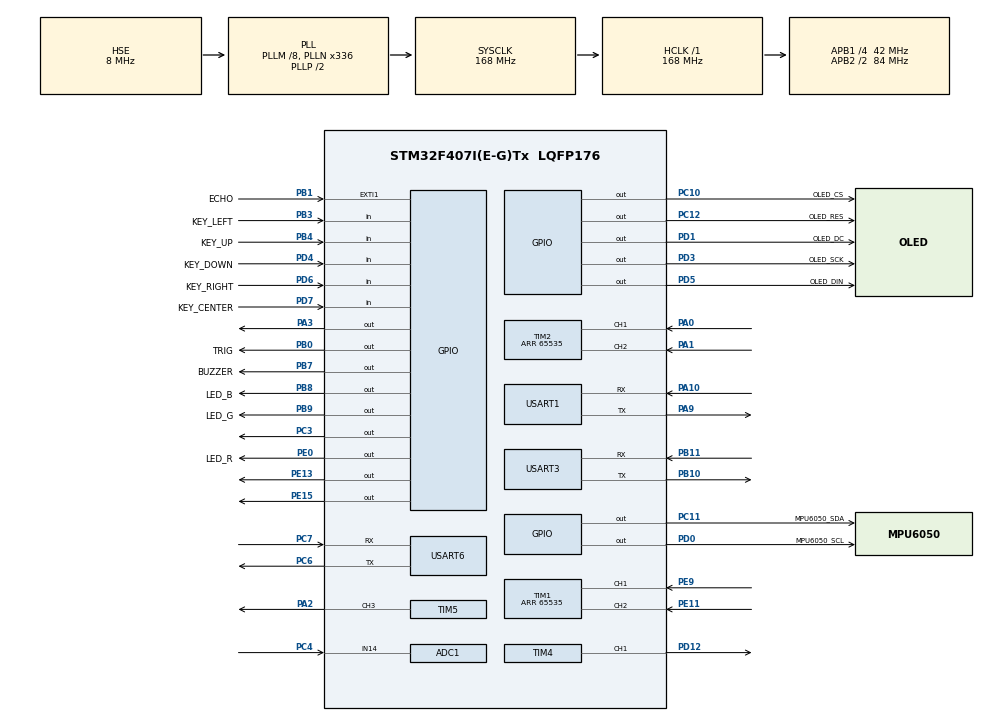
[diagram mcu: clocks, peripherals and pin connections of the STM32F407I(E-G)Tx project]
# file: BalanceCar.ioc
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ADC1.Channel-0\#ChannelRegularConversion=ADC_CHANNEL_14
ADC1.ClockPrescaler=ADC_CLOCK_SYNC_PCLK_DIV4
ADC1.ContinuousConvMode=DISABLE
ADC1.DMAContinuousRequests=DISABLE
ADC1.DataAlign=ADC_DATAALIGN_RIGHT
ADC1.DiscontinuousConvMode=DISABLE
ADC1.EOCSelection=ADC_EOC_SINGLE_CONV
ADC1.EnableAnalogWatchDog=false
ADC1.ExternalTrigConv=ADC_SOFTWARE_START
ADC1.ExternalTrigConvEdge=ADC_EXTERNALTRIGCONVEDGE_NONE
ADC1.InjNumberOfConversion=0
ADC1.NbrOfConversion=1
ADC1.NbrOfConversionFlag=1
ADC1.Rank-0\#ChannelRegularConversion=1
ADC1.Resolution=ADC_RESOLUTION_12B
ADC1.SamplingTime-0\#ChannelRegularConversion=ADC_SAMPLETIME_3CYCLES
ADC1.ScanConvMode=DISABLE
ADC1.master=1
Dma.Request0=USART3_RX
Dma.Request1=USART6_RX
Dma.USART3_RX.0.Direction=DMA_PERIPH_TO_MEMORY
Dma.USART3_RX.0.FIFOMode=DMA_FIFOMODE_DISABLE
Dma.USART3_RX.0.Instance=DMA1_Stream1
Dma.USART3_RX.0.MemDataAlignment=DMA_MDATAALIGN_BYTE
Dma.USART3_RX.0.MemInc=DMA_MINC_ENABLE
Dma.USART3_RX.0.Mode=DMA_NORMAL
Dma.USART3_RX.0.PeriphDataAlignment=DMA_PDATAALIGN_BYTE
Dma.USART3_RX.0.PeriphInc=DMA_PINC_DISABLE
Dma.USART3_RX.0.Priority=DMA_PRIORITY_LOW
Dma.USART6_RX.1.Direction=DMA_PERIPH_TO_MEMORY
Dma.USART6_RX.1.FIFOMode=DMA_FIFOMODE_DISABLE
Dma.USART6_RX.1.Instance=DMA2_Stream1
Dma.USART6_RX.1.MemDataAlignment=DMA_MDATAALIGN_BYTE
Dma.USART6_RX.1.MemInc=DMA_MINC_ENABLE
Dma.USART6_RX.1.Mode=DMA_NORMAL
Dma.USART6_RX.1.PeriphDataAlignment=DMA_PDATAALIGN_BYTE
Dma.USART6_RX.1.PeriphInc=DMA_PINC_DISABLE
Dma.USART6_RX.1.Priority=DMA_PRIORITY_LOW
FREERTOS.Tasks01=Task_200HZ,0,128,StartTask_200HZ,Default,NULL,Dynamic,NULL,NULL;Task_100HZ,-3,128,StartTask_100HZ,Default,NULL,Dynamic,NULL,NULL;Task_5HZ,-3,128,StartTask_5HZ,Default,NULL,Dynamic,NULL,NULL;Task_Interactio,-3,128,StartTask_Interaction,Default,NULL,Dynamic,NULL,NULL
Mcu.Family=STM32F4
Mcu.Name=STM32F407I(E-G)Tx
Mcu.Package=LQFP176
NVIC.DMA1_Stream1_IRQn=true\:5\:0\:false\:false\:true\:true\:false
NVIC.DMA2_Stream1_IRQn=true\:5\:0\:false\:false\:true\:true\:false
NVIC.EXTI1_IRQn=true\:5\:0\:false\:false\:true\:true\:true
NVIC.PriorityGroup=NVIC_PRIORITYGROUP_4
NVIC.TIM6_DAC_IRQn=true\:0\:0\:false\:false\:true\:false\:false
NVIC.TIM7_IRQn=true\:5\:0\:false\:false\:true\:true\:true
NVIC.TimeBase=TIM6_DAC_IRQn
NVIC.TimeBaseIP=TIM6
NVIC.USART3_IRQn=true\:5\:0\:false\:false\:true\:true\:true
NVIC.USART6_IRQn=true\:5\:0\:false\:false\:true\:true\:true
PA0-WKUP.Signal=S_TIM2_CH1_ETR
PA1.Signal=S_TIM2_CH2
PA10.Mode=Asynchronous
PA10.Signal=USART1_RX
PA2.Signal=S_TIM5_CH3
PA3.Signal=GPIO_Output
PA9.Mode=Asynchronous
PA9.Signal=USART1_TX
PB0.GPIO_Label=TRIG
PB0.Signal=GPIO_Output
PB1.GPIO_Label=ECHO
PB1.GPIO_ModeDefaultEXTI=GPIO_MODE_IT_RISING_FALLING
PB1.Signal=GPXTI1
PB10.Mode=Asynchronous
PB10.Signal=USART3_TX
PB11.Mode=Asynchronous
PB11.Signal=USART3_RX
PB3.GPIO_Label=KEY_LEFT
PB3.Signal=GPIO_Input
PB4.GPIO_Label=KEY_UP
PB4.Signal=GPIO_Input
PB7.GPIO_Label=BUZZER
PB7.Signal=GPIO_Output
PB8.GPIO_Label=LED_B
PB8.Signal=GPIO_Output
PB9.GPIO_Label=LED_G
PB9.Signal=GPIO_Output
PC10.GPIO_Label=OLED_CS
PC10.Signal=GPIO_Output
PC11.GPIO_Label=MPU6050_SDA
PC11.Signal=GPIO_Output
PC12.GPIO_Label=OLED_RES
PC12.Signal=GPIO_Output
PC3.Signal=GPIO_Output
PC4.Signal=ADCx_IN14
PC6.Mode=Asynchronous
PC6.Signal=USART6_TX
PC7.Mode=Asynchronous
PC7.Signal=USART6_RX
PD0.GPIO_Label=MPU6050_SCL
PD0.Signal=GPIO_Output
PD1.GPIO_Label=OLED_DC
PD1.Signal=GPIO_Output
PD12.Signal=S_TIM4_CH1
PD3.GPIO_Label=OLED_SCK
PD3.Signal=GPIO_Output
PD4.GPIO_Label=KEY_DOWN
PD4.Signal=GPIO_Input
PD5.GPIO_Label=OLED_DIN
PD5.Signal=GPIO_Output
PD6.GPIO_Label=KEY_RIGHT
PD6.Signal=GPIO_Input
PD7.GPIO_Label=KEY_CENTER
PD7.Signal=GPIO_Input
PE0.GPIO_Label=LED_R
PE0.Signal=GPIO_Output
PE11.Signal=S_TIM1_CH2
PE13.Signal=GPIO_Output
PE15.Signal=GPIO_Output
PE9.Signal=S_TIM1_CH1
PH0-OSC_IN.Mode=HSE-External-Oscillator
PH0-OSC_IN.Signal=RCC_OSC_IN
PH1-OSC_OUT.Mode=HSE-External-Oscillator
PH1-OSC_OUT.Signal=RCC_OSC_OUT
ProjectManager.HeapSize=0x200
ProjectManager.StackSize=0x400
ProjectManager.TargetToolchain=MDK-ARM V5
RCC.48MHZClocksFreq_Value=84000000
RCC.AHBFreq_Value=168000000
RCC.APB1CLKDivider=RCC_HCLK_DIV4
RCC.APB1Freq_Value=42000000
RCC.APB1TimFreq_Value=84000000
RCC.APB2CLKDivider=RCC_HCLK_DIV2
RCC.APB2Freq_Value=84000000
RCC.APB2TimFreq_Value=168000000
RCC.CortexFreq_Value=168000000
RCC.HCLKFreq_Value=168000000
RCC.HSE_VALUE=8000000
RCC.HSI_VALUE=16000000
RCC.LSE_VALUE=32768
RCC.PLLM=8
RCC.PLLN=336
RCC.PLLSourceVirtual=RCC_PLLSOURCE_HSE
RCC.SYSCLKFreq_VALUE=168000000
RCC.SYSCLKSource=RCC_SYSCLKSOURCE_PLLCLK
RCC.VCOOutputFreq_Value=336000000
SH.ADCx_IN14.0=ADC1_IN14,IN14
SH.S_TIM1_CH1.0=TIM1_CH1,Encoder_Interface
SH.S_TIM1_CH2.0=TIM1_CH2,Encoder_Interface
SH.S_TIM2_CH1_ETR.0=TIM2_CH1,Encoder_Interface
SH.S_TIM2_CH2.0=TIM2_CH2,Encoder_Interface
SH.S_TIM4_CH1.0=TIM4_CH1,PWM Generation1 CH1
SH.S_TIM5_CH3.0=TIM5_CH3,PWM Generation3 CH3
TIM1.EncoderMode=TIM_ENCODERMODE_TI12
TIM1.Period=65535
TIM2.EncoderMode=TIM_ENCODERMODE_TI12
TIM2.Period=65535
TIM4.Channel-PWM\ Generation1\ CH1=TIM_CHANNEL_1
TIM4.Period=8000
TIM5.Channel-PWM\ Generation3\ CH3=TIM_CHANNEL_3
TIM5.Period=8000
TIM7.Period=1000-1
TIM7.Prescaler=84-1
USART1.VirtualMode=VM_ASYNC
USART3.VirtualMode=VM_ASYNC
USART6.VirtualMode=VM_ASYNC
VP_FREERTOS_VS_ENABLE.Mode=Enabled
VP_SYS_VS_tim6.Mode=TIM6
VP_TIM7_VS_ClockSourceINT.Mode=Enable_Timer
board=BalanceCar

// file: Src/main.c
/**
  ******************************************************************************
  * @file           : main.c
  * @brief          : Main program body
  ******************************************************************************
  * This notice applies to any and all portions of this file
  * that are not between comment pairs USER CODE BEGIN and
  * USER CODE END. Other portions of this file, whether
  * inserted by the user or by software development tools
  * are owned by their respective copyright owners.
  *
  * Copyright (c) 2018 STMicroelectronics International N.V.
  * All rights reserved.
  *
  * Redistribution and use in source and binary forms, with or without
  * modification, are permitted, provided that the following conditions are met:
  *
  * 1. Redistribution of source code must retain the above copyright notice,
  *    this list of conditions and the following disclaimer.
  * 2. Redistributions in binary form must reproduce the above copyright notice,
  *    this list of conditions and the following disclaimer in the documentation
  *    and/or other materials provided with the distribution.
  * 3. Neither the name of STMicroelectronics nor the names of other
  *    contributors to this software may be used to endorse or promote products
  *    derived from this software without specific written permission.
  * 4. This software, including modifications and/or derivative works of this
  *    software, must execute solely and exclusively on microcontroller or
  *    microprocessor devices manufactured by or for STMicroelectronics.
  * 5. Redistribution and use of this software other than as permitted under
  *    this license is void and will automatically terminate your rights under
  *    this license.
  *
  * THIS SOFTWARE IS PROVIDED BY STMICROELECTRONICS AND CONTRIBUTORS "AS IS"
  * AND ANY EXPRESS, IMPLIED OR STATUTORY WARRANTIES, INCLUDING, BUT NOT
  * LIMITED TO, THE IMPLIED WARRANTIES OF MERCHANTABILITY, FITNESS FOR A
  * PARTICULAR PURPOSE AND NON-INFRINGEMENT OF THIRD PARTY INTELLECTUAL PROPERTY
  * RIGHTS ARE DISCLAIMED TO THE FULLEST EXTENT PERMITTED BY LAW. IN NO EVENT
  * SHALL STMICROELECTRONICS OR CONTRIBUTORS BE LIABLE FOR ANY DIRECT, INDIRECT,
  * INCIDENTAL, SPECIAL, EXEMPLARY, OR CONSEQUENTIAL DAMAGES (INCLUDING, BUT NOT
  * LIMITED TO, PROCUREMENT OF SUBSTITUTE GOODS OR SERVICES; LOSS OF USE, DATA,
  * OR PROFITS; OR BUSINESS INTERRUPTION) HOWEVER CAUSED AND ON ANY THEORY OF
  * LIABILITY, WHETHER IN CONTRACT, STRICT LIABILITY, OR TORT (INCLUDING
  * NEGLIGENCE OR OTHERWISE) ARISING IN ANY WAY OUT OF THE USE OF THIS SOFTWARE,
  * EVEN IF ADVISED OF THE POSSIBILITY OF SUCH DAMAGE.
  *
  ******************************************************************************
  */
#include "main.h"
#include "stm32f4xx_hal.h"
#include "cmsis_os.h"
#include "adc.h"
#include "dma.h"
#include "tim.h"
#include "usart.h"
#include "gpio.h"

/* USER CODE BEGIN Includes */
#include "car_task.h"

/* USER CODE END Includes */

/* USER CODE BEGIN PV */
/* Private variables ---------------------------------------------------------*/

/* USER CODE END PV */

void SystemClock_Config(void);
void MX_FREERTOS_Init(void);

/* USER CODE BEGIN PFP */
/* Private function prototypes -----------------------------------------------*/

/* USER CODE END PFP */

/* USER CODE BEGIN 0 */

int fputc(int ch, FILE *fp)
{
	while(!(USART1->SR & (1<<7)));

	USART1->DR = ch;

	return ch;
}
/* USER CODE END 0 */

int main(void)
{

  /* MCU Configuration----------------------------------------------------------*/

  /* Reset of all peripherals, Initializes the Flash interface and the Systick. */
  HAL_Init();

  /* Configure the system clock */
  SystemClock_Config();

  /* Initialize all configured peripherals */
  MX_GPIO_Init();
  MX_DMA_Init();
  MX_USART1_UART_Init();
  MX_TIM5_Init();
  MX_TIM4_Init();
  MX_TIM1_Init();
  MX_TIM2_Init();
  MX_TIM7_Init();
  MX_USART3_UART_Init();
  MX_USART6_UART_Init();
  MX_ADC1_Init();
  /* USER CODE BEGIN 2 */

	printf("平衡小车开发项目\n");

	HAL_TIM_PWM_Start(&htim5, TIM_CHANNEL_3);
	HAL_TIM_PWM_Start(&htim4, TIM_CHANNEL_1);
	HAL_TIM_Encoder_Start(&htim1, TIM_CHANNEL_ALL);
	HAL_TIM_Encoder_Start(&htim2, TIM_CHANNEL_ALL);

	//启动CCD数据接收
	HAL_UART_Receive_DMA(&huart3, (uint8_t *)&CCD, sizeof(CCD));

  /* USER CODE END 2 */

  /* Call init function for freertos objects (in freertos.c) */
  MX_FREERTOS_Init();

  /* Start scheduler */
  osKernelStart();

  /* We should never get here as control is now taken by the scheduler */

  /* Infinite loop */
  while (1)
  {

  }

}

void SystemClock_Config(void)
{

  RCC_OscInitTypeDef RCC_OscInitStruct;
  RCC_ClkInitTypeDef RCC_ClkInitStruct;

    /**Configure the main internal regulator output voltage
    */
  __HAL_RCC_PWR_CLK_ENABLE();

  __HAL_PWR_VOLTAGESCALING_CONFIG(PWR_REGULATOR_VOLTAGE_SCALE1);

    /**Initializes the CPU, AHB and APB busses clocks
    */
  RCC_OscInitStruct.OscillatorType = RCC_OSCILLATORTYPE_HSE;
  RCC_OscInitStruct.HSEState = RCC_HSE_ON;
  RCC_OscInitStruct.PLL.PLLState = RCC_PLL_ON;
  RCC_OscInitStruct.PLL.PLLSource = RCC_PLLSOURCE_HSE;
  RCC_OscInitStruct.PLL.PLLM = 8;
  RCC_OscInitStruct.PLL.PLLN = 336;
  RCC_OscInitStruct.PLL.PLLP = RCC_PLLP_DIV2;
  RCC_OscInitStruct.PLL.PLLQ = 4;
  if (HAL_RCC_OscConfig(&RCC_OscInitStruct) != HAL_OK)
  {
    _Error_Handler(__FILE__, __LINE__);
  }

    /**Initializes the CPU, AHB and APB busses clocks
    */
  RCC_ClkInitStruct.ClockType = RCC_CLOCKTYPE_HCLK|RCC_CLOCKTYPE_SYSCLK
                              |RCC_CLOCKTYPE_PCLK1|RCC_CLOCKTYPE_PCLK2;
  RCC_ClkInitStruct.SYSCLKSource = RCC_SYSCLKSOURCE_PLLCLK;
  RCC_ClkInitStruct.AHBCLKDivider = RCC_SYSCLK_DIV1;
  RCC_ClkInitStruct.APB1CLKDivider = RCC_HCLK_DIV4;
  RCC_ClkInitStruct.APB2CLKDivider = RCC_HCLK_DIV2;

  if (HAL_RCC_ClockConfig(&RCC_ClkInitStruct, FLASH_LATENCY_5) != HAL_OK)
  {
    _Error_Handler(__FILE__, __LINE__);
  }

    /**Configure the Systick interrupt time
    */
  HAL_SYSTICK_Config(HAL_RCC_GetHCLKFreq()/1000);

    /**Configure the Systick
    */
  HAL_SYSTICK_CLKSourceConfig(SYSTICK_CLKSOURCE_HCLK);

  /* SysTick_IRQn interrupt configuration */
  HAL_NVIC_SetPriority(SysTick_IRQn, 15, 0);
}

/* USER CODE BEGIN 4 */
extern uint8_t time_cnt ;
/* USER CODE END 4 */

void HAL_TIM_PeriodElapsedCallback(TIM_HandleTypeDef *htim)
{
  if (htim->Instance == TIM6) {
    HAL_IncTick();
  }
  /* USER CODE BEGIN Callback 1 */
  if (htim->Instance == TIM7) {
    time_cnt++;
  }

  /* USER CODE END Callback 1 */
}

void _Error_Handler(char *file, int line)
{
  while(1)
  {
  }
}

/************************ (C) COPYRIGHT STMicroelectronics *****END OF FILE****/

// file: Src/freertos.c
/**
  ******************************************************************************
  * File Name          : freertos.c
  * Description        : Code for freertos applications
  ******************************************************************************
  * This notice applies to any and all portions of this file
  * that are not between comment pairs USER CODE BEGIN and
  * USER CODE END. Other portions of this file, whether
  * inserted by the user or by software development tools
  * are owned by their respective copyright owners.
  *
  * Copyright (c) 2018 STMicroelectronics International N.V.
  * All rights reserved.
  *
  * Redistribution and use in source and binary forms, with or without
  * modification, are permitted, provided that the following conditions are met:
  *
  * 1. Redistribution of source code must retain the above copyright notice,
  *    this list of conditions and the following disclaimer.
  * 2. Redistributions in binary form must reproduce the above copyright notice,
  *    this list of conditions and the following disclaimer in the documentation
  *    and/or other materials provided with the distribution.
  * 3. Neither the name of STMicroelectronics nor the names of other
  *    contributors to this software may be used to endorse or promote products
  *    derived from this software without specific written permission.
  * 4. This software, including modifications and/or derivative works of this
  *    software, must execute solely and exclusively on microcontroller or
  *    microprocessor devices manufactured by or for STMicroelectronics.
  * 5. Redistribution and use of this software other than as permitted under
  *    this license is void and will automatically terminate your rights under
  *    this license.
  *
  * THIS SOFTWARE IS PROVIDED BY STMICROELECTRONICS AND CONTRIBUTORS "AS IS"
  * AND ANY EXPRESS, IMPLIED OR STATUTORY WARRANTIES, INCLUDING, BUT NOT
  * LIMITED TO, THE IMPLIED WARRANTIES OF MERCHANTABILITY, FITNESS FOR A
  * PARTICULAR PURPOSE AND NON-INFRINGEMENT OF THIRD PARTY INTELLECTUAL PROPERTY
  * RIGHTS ARE DISCLAIMED TO THE FULLEST EXTENT PERMITTED BY LAW. IN NO EVENT
  * SHALL STMICROELECTRONICS OR CONTRIBUTORS BE LIABLE FOR ANY DIRECT, INDIRECT,
  * INCIDENTAL, SPECIAL, EXEMPLARY, OR CONSEQUENTIAL DAMAGES (INCLUDING, BUT NOT
  * LIMITED TO, PROCUREMENT OF SUBSTITUTE GOODS OR SERVICES; LOSS OF USE, DATA,
  * OR PROFITS; OR BUSINESS INTERRUPTION) HOWEVER CAUSED AND ON ANY THEORY OF
  * LIABILITY, WHETHER IN CONTRACT, STRICT LIABILITY, OR TORT (INCLUDING
  * NEGLIGENCE OR OTHERWISE) ARISING IN ANY WAY OUT OF THE USE OF THIS SOFTWARE,
  * EVEN IF ADVISED OF THE POSSIBILITY OF SUCH DAMAGE.
  *
  ******************************************************************************
  */

#include "FreeRTOS.h"
#include "task.h"
#include "cmsis_os.h"

/* USER CODE BEGIN Includes */

#include "main.h"
#include "stm32f4xx_hal.h"
#include "mpu6050.h"
#include "car_task.h"
#include "inv_mpu_user.h"
#include "esp32.h"
#include "connect.h"
#include "oled.h"
#include "oled_show.h"
#include "car_system.h"
/* USER CODE END Includes */

osThreadId Task_200HZHandle;
osThreadId Task_100HZHandle;
osThreadId Task_5HZHandle;
osThreadId Task_InteractioHandle;

/* USER CODE BEGIN Variables */

#define   Message_Q_NUM      5
#define   Message_Q_Length   sizeof(tEsp32_RcvBuf)
xQueueHandle  Message_Queue;
tEsp32_RcvBuf Uart6_Rcv;

/* USER CODE END Variables */

void StartTask_200HZ(void const * argument);
void StartTask_100HZ(void const * argument);
void StartTask_5HZ(void const * argument);
void StartTask_Interaction(void const * argument);

void MX_FREERTOS_Init(void); /* (MISRA C 2004 rule 8.1) */

/* Hook prototypes */

/* Init FreeRTOS */

void MX_FREERTOS_Init(void) {

  /* Create the thread(s) */
  /* definition and creation of Task_200HZ */
  osThreadDef(Task_200HZ, StartTask_200HZ, osPriorityNormal, 0, 128);
  Task_200HZHandle = osThreadCreate(osThread(Task_200HZ), NULL);

  /* definition and creation of Task_100HZ */
  osThreadDef(Task_100HZ, StartTask_100HZ, osPriorityIdle, 0, 128);
  Task_100HZHandle = osThreadCreate(osThread(Task_100HZ), NULL);

  /* definition and creation of Task_5HZ */
  osThreadDef(Task_5HZ, StartTask_5HZ, osPriorityIdle, 0, 128);
  Task_5HZHandle = osThreadCreate(osThread(Task_5HZ), NULL);

  /* definition and creation of Task_Interactio */
  osThreadDef(Task_Interactio, StartTask_Interaction, osPriorityIdle, 0, 128);
  Task_InteractioHandle = osThreadCreate(osThread(Task_Interactio), NULL);

}

/* StartTask_200HZ function */
void StartTask_200HZ(void const * argument)
{

  /* USER CODE BEGIN StartTask_200HZ */

	//printf("环境采集进程运行\n");

	MPU_Init();

	while(mpu_dmp_init());

  /* Infinite loop */
  for(;;)
  {

		Car_Task_200HZ();

    osDelay(5);
  }
  /* USER CODE END StartTask_200HZ */
}

/* StartTask_100HZ function */
void StartTask_100HZ(void const * argument)
{
  /* USER CODE BEGIN StartTask_100HZ */

	//printf("PID控制进程运行\n");

  /* Infinite loop */
  for(;;)
  {

		Car_Task_100HZ();
    osDelay(10);
  }
  /* USER CODE END StartTask_100HZ */
}

/* StartTask_5HZ function */
void StartTask_5HZ(void const * argument)
{
  /* USER CODE BEGIN StartTask_5HZ */

	printf("菜单显示进程运行\n");

	//0.96寸OLED显示屏初始化
	oled_Init();
	//显示顶层界面
	Interface();

  /* Infinite loop */
  for(;;)
  {
		Car_Task_5HZ();
    osDelay(200);
  }
  /* USER CODE END StartTask_5HZ */
}

/* StartTask_Interaction function */
void StartTask_Interaction(void const * argument)
{
  /* USER CODE BEGIN StartTask_Interaction */

	uint8_t time = 0;

	 printf("交互进程运行\n");

	 Message_Queue =  xQueueCreate ( Message_Q_NUM, Message_Q_Length );

	 HAL_UART_Receive_DMA(&huart6, Uart6_Rcv.RcvBuf, 255);
	 __HAL_UART_ENABLE_IT(&huart6,UART_IT_IDLE );

	ESP32_Init();

  /* Infinite loop */
  for(;;)
  {

		ESP32_Data_Rcv();

		time++;
		if(time >= 50)
		{
			time = 0;
			Connect_Send_data(READ_ALL_ARG);
		}
    osDelay(10);
  }
  /* USER CODE END StartTask_Interaction */
}

/************************ (C) COPYRIGHT STMicroelectronics *****END OF FILE****/
